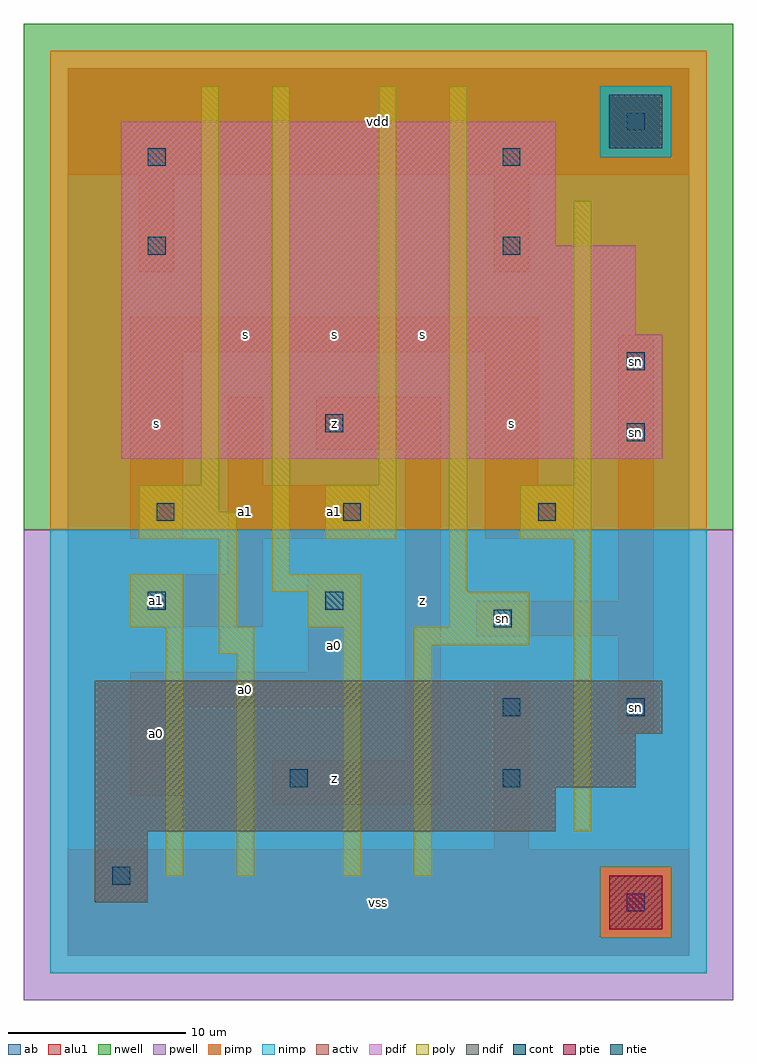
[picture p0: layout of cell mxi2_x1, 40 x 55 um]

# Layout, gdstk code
import gdstk
lib = gdstk.Library(unit=1e-6, precision=1e-09)
def R(c, l, rs):  # rectangles x0, y0, x1, y1
    for r in rs: c.add(gdstk.rectangle(r[:2], r[2:], *l))
ndif = (3, 0)
pdif = (4, 0)
ntie = (5, 0)
ptie = (6, 0)
cont = (25, 0)
pwell = (41, 0)
nwell = (42, 0)
activ = (43, 0)
pimp = (44, 0)
nimp = (45, 0)
poly = (46, 0)
alu1 = (49, 0)
ab = (63, 0)

mxi2_x1 = lib.new_cell('mxi2_x1')
R(mxi2_x1, ndif, [(1.5,3,4.5,7), (1.5,7,27.5,9.5), (1.5,9.5,32,12.5), (1.5,12.5,33.5,15.5)])
R(mxi2_x1, pdif, [(3,28,33.5,35), (3,35,32,40), (3,40,27.5,47)])
R(mxi2_x1, ntie, [(30.5,45.5,33.5,48.5)])
R(mxi2_x1, ptie, [(30.5,1.5,33.5,4.5)])
R(mxi2_x1, cont, [(31.5,2.5,32.5,3.5), (2.5,4,3.5,5), (12.5,9.5,13.5,10.5), (24.5,9.5,25.5,10.5), (24.5,13.5,25.5,14.5), (31.5,13.5,32.5,14.5), (24,18.5,25,19.5), (4.5,19.5,5.5,20.5), (14.5,19.5,15.5,20.5), (5,24.5,6,25.5), (15.5,24.5,16.5,25.5), (26.5,24.5,27.5,25.5), (31.5,29,32.5,30), (14.5,29.5,15.5,30.5), (31.5,33,32.5,34), (4.5,39.5,5.5,40.5), (24.5,39.5,25.5,40.5), (4.5,44.5,5.5,45.5), (24.5,44.5,25.5,45.5), (31.5,46.5,32.5,47.5)])
R(mxi2_x1, pwell, [(-2.5,-2.5,37.5,24)])
R(mxi2_x1, nwell, [(-2.5,24,37.5,52.5)])
R(mxi2_x1, activ, [(30.5,1.5,33.5,4.5), (1.5,3,4.5,7), (1.5,7,27.5,9.5), (1.5,9.5,32,12.5), (1.5,12.5,33.5,15.5), (3,28,33.5,35), (3,35,32,40), (3,40,27.5,47), (30.5,45.5,33.5,48.5)])
R(mxi2_x1, pimp, [(30,1,34,5), (-1,24,36,45), (-1,45,30,49), (34,45,36,49), (-1,49,36,51)])
R(mxi2_x1, nimp, [(-1,-1,36,1), (-1,1,30,5), (34,1,36,5), (-1,5,36,24), (30,45,34,49)])
R(mxi2_x1, poly, [(5.5,4.5,6.5,18.5), (9.5,4.5,10.5,17), (15.5,4.5,16.5,18.5), (19.5,4.5,20.5,17.5), (28.5,7,29.5,23.5), (8.5,17,10.5,18.5), (19.5,17.5,26,18.5), (3.5,18.5,6.5,21.5), (8.5,18.5,9.5,23.5), (13.5,18.5,16.5,20.5), (21.5,18.5,26,20.5), (11.5,20.5,16.5,21.5), (21.5,20.5,22.5,49), (11.5,21.5,12.5,49), (4,23.5,9.5,25), (14.5,23.5,18.5,26.5), (25.5,23.5,29.5,26.5), (4,25,8.5,26.5), (7.5,26.5,8.5,49), (17.5,26.5,18.5,49), (28.5,26.5,29.5,42.5)])
R(mxi2_x1, alu1, [(0,0,35,6), (0,0,35,6), (24,6,26,15.5), (24,6,26,15.5), (11.5,8.5,21,11), (11.5,8.5,21,11), (3.5,9,6.5,14), (3.5,9,6.5,14), (19,11,21,28.5), (19,11,21,28.5), (31,12.5,33,18), (31,12.5,33,18), (3.5,14,16.5,16), (3.5,14,16.5,16), (13.5,16,16.5,21.5), (13.5,16,16.5,21.5), (23,18,33,20), (23,18,33,20), (3.5,18.5,11,21.5), (3.5,18.5,11,21.5), (31,20,33,35), (31,20,33,35), (9,21.5,11,23.5), (9,21.5,11,23.5), (3.5,23.5,6.5,34), (3.5,23.5,6.5,34), (9,23.5,17,26.5), (9,23.5,17,26.5), (23.5,23.5,28.5,26.5), (23.5,23.5,28.5,26.5), (9,26.5,11,31.5), (9,26.5,11,31.5), (23.5,26.5,26.5,34), (23.5,26.5,26.5,34), (14,28.5,21,31.5), (14,28.5,21,31.5), (3.5,34,26.5,36), (3.5,34,26.5,36), (4,38.5,6,44), (4,38.5,6,44), (24,38.5,26,44), (24,38.5,26,44), (0,44,35,50), (0,44,35,50)])
R(mxi2_x1, ab, [(0,0,35,50)])
mxi2_x1.add(gdstk.Label('sn', (32,14), layer=49, texttype=0))
mxi2_x1.add(gdstk.Label('sn', (24.5,19), layer=49, texttype=0))
mxi2_x1.add(gdstk.Label('sn', (32,29.5), layer=49, texttype=0))
mxi2_x1.add(gdstk.Label('sn', (32,33.5), layer=49, texttype=0))
mxi2_x1.add(gdstk.Label('a0', (5,12.5), layer=49, texttype=0))
mxi2_x1.add(gdstk.Label('a1', (5,20), layer=49, texttype=0))
mxi2_x1.add(gdstk.Label('s', (5,30), layer=49, texttype=0))
mxi2_x1.add(gdstk.Label('z', (15,10), layer=49, texttype=0))
mxi2_x1.add(gdstk.Label('a0', (10,15), layer=49, texttype=0))
mxi2_x1.add(gdstk.Label('a0', (15,17.5), layer=49, texttype=0))
mxi2_x1.add(gdstk.Label('a1', (15,25), layer=49, texttype=0))
mxi2_x1.add(gdstk.Label('a1', (10,25), layer=49, texttype=0))
mxi2_x1.add(gdstk.Label('s', (10,35), layer=49, texttype=0))
mxi2_x1.add(gdstk.Label('s', (15,35), layer=49, texttype=0))
mxi2_x1.add(gdstk.Label('z', (15,30), layer=49, texttype=0))
mxi2_x1.add(gdstk.Label('vss', (17.5,3), layer=49, texttype=0))
mxi2_x1.add(gdstk.Label('z', (20,20), layer=49, texttype=0))
mxi2_x1.add(gdstk.Label('s', (20,35), layer=49, texttype=0))
mxi2_x1.add(gdstk.Label('s', (25,30), layer=49, texttype=0))
mxi2_x1.add(gdstk.Label('vdd', (17.5,47), layer=49, texttype=0))

lib.write_gds('mxi2_x1.gds')
